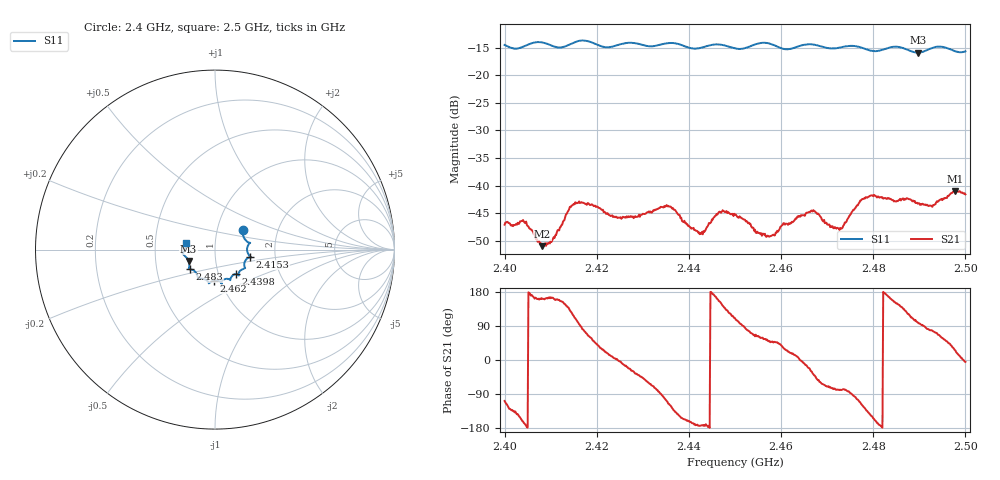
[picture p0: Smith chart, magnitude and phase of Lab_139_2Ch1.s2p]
# Hz S RI R 50
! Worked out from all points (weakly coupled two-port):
!   601 points, 2.4 GHz to 2.5 GHz, reference 50 ohm
!   highest |S21| = -40.96 dB at 2.4978 GHz (marker M1); lowest = -51.0 dB at 2.4082 GHz (marker M2)
!   lowest |S11| = -15.9 dB at 2.4897 GHz (marker M3), VSWR 1.38, Z = 36.9 - j4.81 ohm
!   |S11| at or under -10 dB: start of sweep to end of sweep
!   S12 and S22 are empty: the file has one direction only
!   S11 on the Smith chart (normalised r, x): 2.4 GHz: 1.33, +0.29; 2.4153 GHz: 1.48, -0.12; 2.4398 GHz: 1.21, -0.34; 2.462 GHz: 0.93, -0.33; 2.483 GHz: 0.74, -0.17; 2.5 GHz: 0.72, +0.06
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2.4e9  0.1551 0.1066  -0.00137 -0.0042  0 0  0 0
2.404167e9  0.1765 0.0463  -0.0046 -0.00115  0 0  0 0
2.408167e9  0.1949 0.037  -0.00268 0.00089  0 0  0 0
2.415333e9  0.1965 -0.0388  -0.00243 0.00663  0 0  0 0
2.416667e9  0.2019 -0.0428  0.000306 0.00707  0 0  0 0
2.425e9  0.1646 -0.0955  0.0051 -0.000332  0 0  0 0
2.433333e9  0.1313 -0.1336  0.000733 -0.00615  0 0  0 0
2.436e9  0.1324 -0.1448  -0.00325 -0.00559  0 0  0 0
2.439833e9  0.1154 -0.1364  -0.00409 -0.00138  0 0  0 0
2.442833e9  0.0903 -0.1536  -0.00377 -0.000513  0 0  0 0
2.446833e9  0.0845 -0.1695  -0.00508 0.00265  0 0  0 0
2.45e9  0.0648 -0.1629  -0.00192 0.00511  0 0  0 0
2.457167e9  0.0387 -0.1915  0.00226 0.00269  0 0  0 0
2.462e9  -0.00508 -0.1732  0.00432 0.00147  0 0  0 0
2.466667e9  -0.0344 -0.1875  0.00511 -0.00304  0 0  0 0
2.472833e9  -0.0785 -0.1602  0.000835 -0.00405  0 0  0 0
2.477667e9  -0.0976 -0.1475  -0.00379 -0.00656  0 0  0 0
2.483e9  -0.1376 -0.1094  -0.00749 0.00117  0 0  0 0
2.483333e9  -0.1401 -0.1092  -0.00743 0.00176  0 0  0 0
2.489667e9  -0.1474 -0.0635  -0.00109 0.00678  0 0  0 0
2.497833e9  -0.1645 0.00333  0.00811 0.00379  0 0  0 0
2.5e9  -0.16 0.0392  0.0083 -0.000721  0 0  0 0
